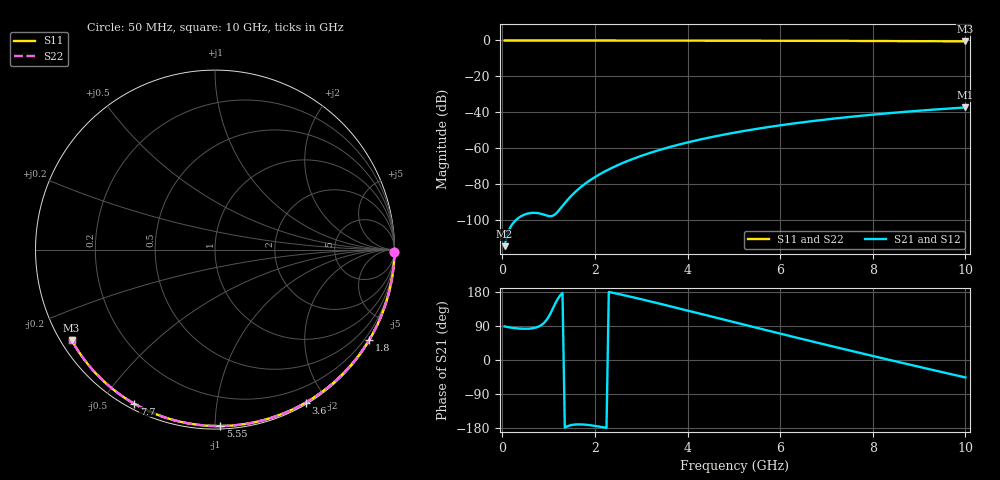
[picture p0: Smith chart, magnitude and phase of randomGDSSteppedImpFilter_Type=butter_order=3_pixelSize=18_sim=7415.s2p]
! freq	dB(S11)	phase(S11)	dB(S12)	phase(S12)
!  dB(S21)	phase(S21)	dB(S22)	phase(S22)
!S-par simulation data
#  GHz  S  DB  R 50
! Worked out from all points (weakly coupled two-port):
!   200 points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, 50 MHz to 10 GHz, reference 50 ohm
!   highest |S21| = -37.28 dB at 10 GHz (marker M1); lowest = -114.5 dB at 50 MHz (marker M2)
!   lowest |S11| = -0.5 dB at 10 GHz (marker M3), VSWR 34.93, Z = 1.55 - j14.4 ohm
!   |S11| at or under -10 dB: nowhere
!   |S22| runs from -0.5 to 0.0 dB; largest |S21 - S12| = 0
!   S11 on the Smith chart (normalised r, x): 50 MHz: open; 1.8 GHz: 0.03, -3.68; 3.6 GHz: 0.02, -1.76; 5.55 GHz: 0.02, -1.03; 7.7 GHz: 0.02, -0.60; 10 GHz: 0.03, -0.29
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0.05  -0.00 -0.9  -114.47 88.6  -114.47 88.6  -0.00 -0.9
0.45  -0.01 -7.7  -97.22 82.5  -97.22 82.5  -0.01 -7.7
0.9  -0.02 -15.4  -96.95 97.8  -96.95 97.8  -0.02 -15.4
1.3  -0.03 -22.1  -92.09 176.9  -92.09 176.9  -0.03 -22.1
1.75  -0.04 -29.6  -80.47 -170.3  -80.47 -170.3  -0.04 -29.6
1.8  -0.04 -30.4  -79.49 -170.8  -79.49 -170.8  -0.04 -30.4
1.95  -0.04 -32.9  -76.84 -172.9  -76.84 -172.9  -0.04 -32.9
2.1  -0.04 -35.4  -74.51 -175.8  -74.51 -175.8  -0.04 -35.4
2.3  -0.05 -38.6  -71.74 179.6  -71.74 179.6  -0.05 -38.6
2.5  -0.05 -41.9  -69.30 174.4  -69.30 174.4  -0.05 -41.9
2.9  -0.06 -48.3  -65.14 163.3  -65.14 163.3  -0.06 -48.3
3.4  -0.07 -56.2  -60.89 148.6  -60.89 148.6  -0.07 -56.2
3.6  -0.08 -59.3  -59.41 142.6  -59.41 142.6  -0.08 -59.3
4.3  -0.10 -70.0  -54.96 121.3  -54.96 121.3  -0.10 -70.0
5.05  -0.12 -81.1  -51.12 98.4  -51.12 98.4  -0.12 -81.1
5.55  -0.14 -88.3  -48.96 83.2  -48.96 83.2  -0.14 -88.3
6.1  -0.17 -96.0  -46.86 66.6  -46.86 66.6  -0.17 -96.0
6.7  -0.20 -104.3  -44.86 48.7  -44.86 48.7  -0.20 -104.3
7.7  -0.27 -117.7  -42.03 19.3  -42.03 19.3  -0.27 -117.7
8.35  -0.32 -126.3  -40.47 0.5  -40.47 0.5  -0.32 -126.3
9.2  -0.41 -137.3  -38.70 -23.6  -38.70 -23.6  -0.41 -137.3
10  -0.50 -147.8  -37.28 -46.0  -37.28 -46.0  -0.50 -147.8
